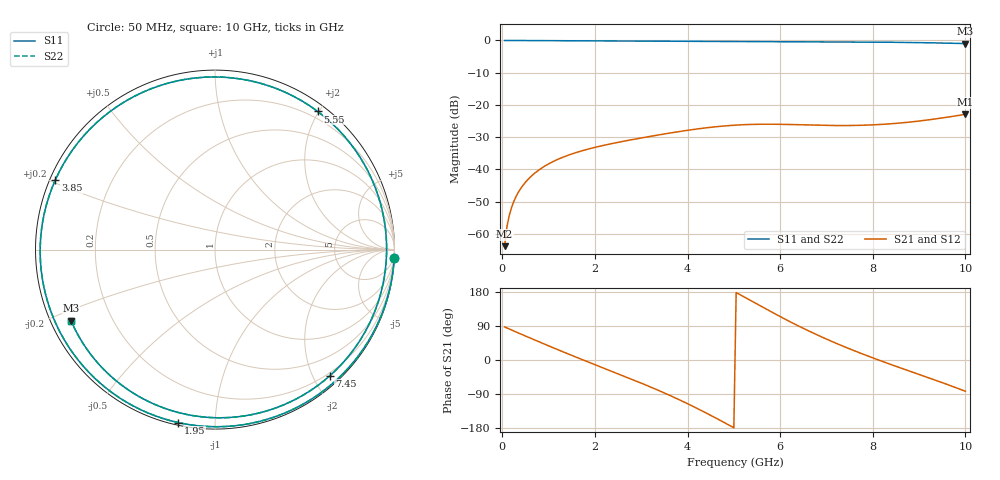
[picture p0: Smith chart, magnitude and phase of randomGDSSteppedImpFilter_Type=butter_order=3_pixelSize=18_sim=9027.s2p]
! freq	dB(S11)	phase(S11)	dB(S12)	phase(S12)
!  dB(S21)	phase(S21)	dB(S22)	phase(S22)
!S-par simulation data
#  GHz  S  DB  R 50
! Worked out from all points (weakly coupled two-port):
!   200 points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, 50 MHz to 10 GHz, reference 50 ohm
!   highest |S21| = -22.92 dB at 10 GHz (marker M1); lowest = -63.8 dB at 50 MHz (marker M2)
!   lowest |S11| = -1.0 dB at 10 GHz (marker M3), VSWR 17.97, Z = 2.93 - j11.6 ohm
!   |S11| at or under -10 dB: nowhere
!   |S22| runs from -1.0 to 0.0 dB; largest |S21 - S12| = 0
!   S11 on the Smith chart (normalised r, x): 50 MHz: 0, -43; 1.95 GHz: 0.01, -0.81; 3.85 GHz: 0.02, +0.21; 5.55 GHz: 0.10, +1.99; 7.45 GHz: 0.15, -2.25; 10 GHz: 0.06, -0.23
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0.05  -0.00 -2.7  -63.81 87.2  -63.81 87.2  -0.00 -2.7
0.1  -0.01 -5.4  -57.80 84.5  -57.80 84.5  -0.01 -5.4
0.2  -0.02 -10.7  -51.81 79.1  -51.81 79.1  -0.02 -10.7
0.35  -0.03 -18.6  -47.01 71.2  -47.01 71.2  -0.03 -18.6
0.5  -0.04 -26.6  -43.98 63.3  -43.98 63.3  -0.04 -26.6
1.15  -0.08 -60.7  -37.20 29.7  -37.20 29.7  -0.08 -60.7
1.75  -0.12 -91.8  -34.10 -0.1  -34.10 -0.1  -0.12 -91.7
1.95  -0.13 -102.0  -33.34 -9.8  -33.34 -9.8  -0.13 -102.0
2.35  -0.15 -122.6  -32.04 -29.1  -32.04 -29.1  -0.15 -122.6
2.75  -0.18 -143.5  -30.90 -48.6  -30.90 -48.6  -0.18 -143.4
3.4  -0.23 -178.3  -29.24 -81.7  -29.24 -81.7  -0.23 -178.2
3.85  -0.26 156.4  -28.19 -106.5  -28.19 -106.5  -0.26 156.5
4.5  -0.31 117.9  -26.94 -146.0  -26.94 -146.0  -0.31 118.1
5.05  -0.34 84.1  -26.25 177.9  -26.25 177.9  -0.34 84.3
5.55  -0.36 53.4  -25.99 144.3  -25.99 144.3  -0.36 53.5
6.1  -0.38 20.9  -26.04 108.2  -26.04 108.2  -0.38 21.1
6.7  -0.40 -11.7  -26.26 71.9  -26.26 71.9  -0.39 -11.5
7.45  -0.44 -47.8  -26.39 31.8  -26.39 31.8  -0.44 -47.6
7.9  -0.49 -67.3  -26.24 10.2  -26.24 10.2  -0.49 -67.2
8.35  -0.55 -85.8  -25.89 -10.1  -25.89 -10.1  -0.55 -85.6
9.15  -0.71 -117.5  -24.73 -44.6  -24.73 -44.6  -0.71 -117.3
10  -0.97 -153.8  -22.92 -82.5  -22.92 -82.5  -0.96 -153.5
